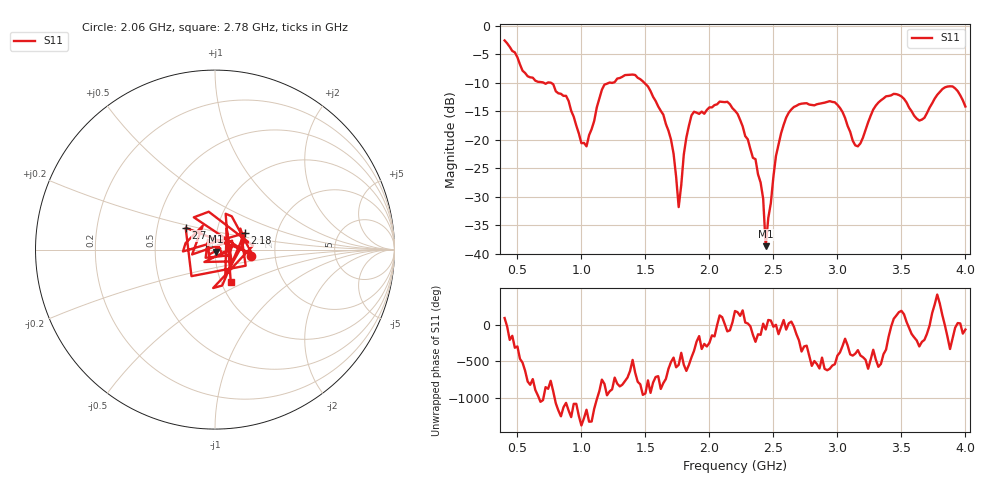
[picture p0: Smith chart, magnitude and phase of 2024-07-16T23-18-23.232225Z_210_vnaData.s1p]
!Created with skrf (http://scikit-rf.org).
# Hz S RI R 50.0
!freq ReS11 ImS11
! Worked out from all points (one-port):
!   181 points, 400 MHz to 4 GHz, reference 50 ohm
!   lowest |S11| = -38.7 dB at 2.44 GHz (marker M1), VSWR 1.02, Z = 50.4 - j1.08 ohm
!   |S11| at or under -10 dB: 702.3 MHz to 738.4 MHz (36.07 MHz wide, 5.01 % of centre); 751.6 MHz to 1.22 GHz (468 MHz wide, 47.5 % of centre); 1.49 GHz to end of sweep (the widest 3 of 4)
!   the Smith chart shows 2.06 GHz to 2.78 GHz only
!   S11 on the Smith chart (normalised r, x): 2.06 GHz: 1.50, -0.10; 2.18 GHz: 1.37, +0.26; 2.7 GHz: 0.70, +0.18; 2.78 GHz: 1.11, -0.42
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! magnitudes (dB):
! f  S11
! 400 MHz  -2.6
! 860 MHz  -12.3
! 1.04 GHz  -21.2
! 1.16 GHz  -11.3
! 1.3 GHz  -9.2
! 1.46 GHz  -9.4
! 1.64 GHz  -15.6
! 1.72 GHz  -22.5
! 1.76 GHz  -31.9
! 1.86 GHz  -15.8
! 2.06 GHz  -13.8
! 2.18 GHz  -14.5
! 2.2 GHz  -15.0
! 2.36 GHz  -23.4
! 2.42 GHz  -30.4
! 2.44 GHz  -38.7
! 2.52 GHz  -22.9
! 2.66 GHz  -14.3
! 2.7 GHz  -13.8
! 2.78 GHz  -13.9
! 2.98 GHz  -13.5
! 3.1 GHz  -18.6
! 3.16 GHz  -21.2
! 3.38 GHz  -12.4
! 3.56 GHz  -14.4
! 3.66 GHz  -16.5
! 3.88 GHz  -10.7
! 4 GHz  -14.2
